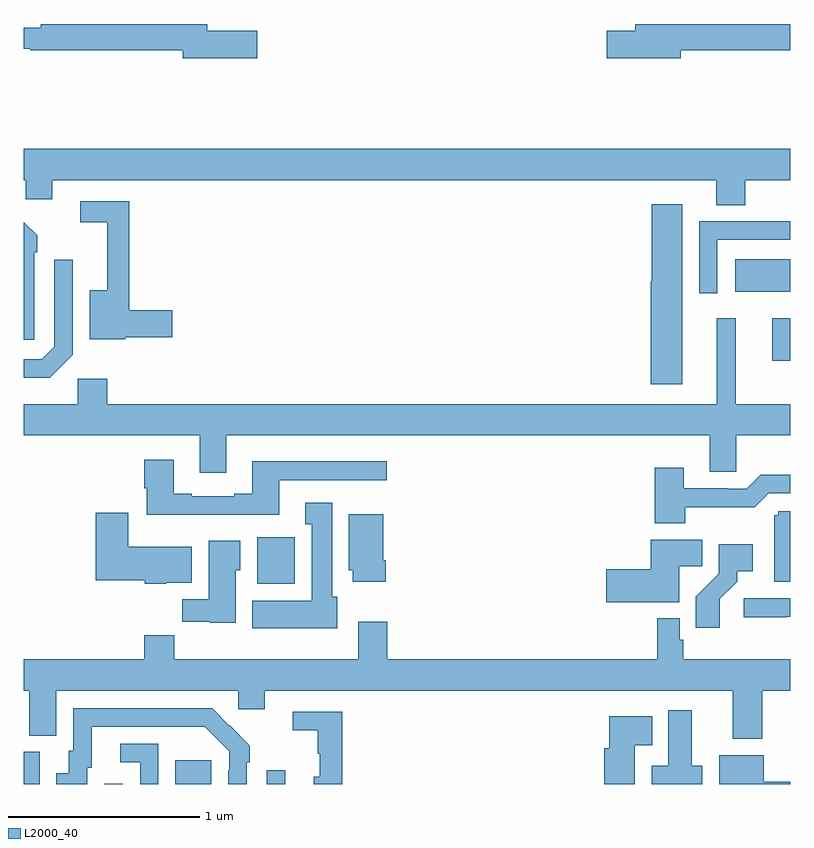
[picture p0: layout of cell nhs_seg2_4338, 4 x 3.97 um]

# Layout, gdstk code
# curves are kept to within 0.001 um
import gdstk
lib = gdstk.Library(unit=1e-6, precision=1e-09)
def R(c, l, rs):  # rectangles x0, y0, x1, y1
    for r in rs: c.add(gdstk.rectangle(r[:2], r[2:], *l))
def P(c, l, *ps):  # polygons
    for p in ps: c.add(gdstk.Polygon(p, *l))
L2000_40 = (2000, 40)

nhs_seg2_4338 = lib.new_cell('nhs_seg2_4338')
R(nhs_seg2_4338, L2000_40, [(345,661.8,345.082,661.968), (345.42,661.8,345.516,661.801), (345.791,661.8,345.979,661.924), (346.269,661.8,346.365,661.873), (346.217,662.846,346.414,663.088), (348.908,664.011,349,664.231), (348.713,664.37,349,664.54)])
P(nhs_seg2_4338, L2000_40, [(348.43,665.632),(349,665.632),(349,665.768),(348.191,665.768),(348.191,665.732),(348.042,665.732),(348.042,665.59),(348.43,665.59)],
  [(346.219,665.732),(345.958,665.732),(345.958,665.768),(345.088,665.768),(345.088,665.749),(345,665.749),(345,665.64),(345.034,665.64),(345.034,665.632),(345.83,665.632),(345.83,665.59),(346.219,665.59)],
  [(348.767,664.952),(349,664.952),(349,665.116),(345,665.116),(345,664.952),(345.009,664.952),(345.009,664.854),(345.148,664.854),(345.148,664.952),(348.614,664.952),(348.614,664.822),(348.767,664.822)],
  [(345.528,664.132),(345.775,664.132),(345.775,664.274),(345.551,664.274),(345.551,664.842),(345.294,664.842),(345.294,664.734),(345.434,664.734),(345.434,664.378),(345.344,664.378),(345.344,664.121),(345.528,664.121)],
  [(348.436,664.828),(348.278,664.828),(348.278,664.425),(348.272,664.425),(348.272,663.888),(348.436,663.888)],
  [(348.621,664.641),(349,664.641),(349,664.739),(348.85,664.739),(348.85,664.737),(348.525,664.737),(348.525,664.362),(348.621,664.362)],
  [(345.054,664.577),(345.069,664.577),(345.069,664.665),(345,664.734),(345,664.119),(345.054,664.119)],
  [(345.255,664.041),(345.255,664.537),(345.159,664.537),(345.159,664.083),(345.093,664.017),(345,664.017),(345,663.92),(345.134,663.92)],
  [(348.716,664.231),(348.617,664.231),(348.617,663.784),(345.434,663.784),(345.434,663.916),(345.282,663.916),(345.282,663.784),(345,663.784),(345,663.62),(345.917,663.62),(345.917,663.426),(346.057,663.426),(346.057,663.62),(348.581,663.62),(348.581,663.43),(348.72,663.43),(348.72,663.62),(349,663.62),(349,663.784),(348.716,663.784)],
  [(346.333,663.387),(346.894,663.387),(346.894,663.484),(346.193,663.484),(346.193,663.316),(346.097,663.316),(346.097,663.303),(345.877,663.303),(345.877,663.316),(345.781,663.316),(345.781,663.493),(345.629,663.493),(345.629,663.345),(345.641,663.345),(345.641,663.206),(346.333,663.206)],
  [(348.453,663.246),(348.815,663.245),(348.888,663.318),(349,663.318),(349,663.415),(348.847,663.415),(348.774,663.342),(348.674,663.342),(348.674,663.345),(348.445,663.345),(348.445,663.451),(348.293,663.451),(348.293,663.161),(348.453,663.161)],
  [(346.636,662.778),(346.609,662.778),(346.609,663.268),(346.469,663.268),(346.469,663.155),(346.502,663.155),(346.502,662.758),(346.193,662.758),(346.193,662.612),(346.636,662.612)],
  [(349,663.225),(348.939,663.225),(348.939,663.204),(348.917,663.204),(348.917,662.856),(349,662.856)],
  [(345.744,662.852),(345.877,662.852),(345.877,663.04),(345.544,663.04),(345.544,663.217),(345.374,663.217),(345.374,662.864),(345.63,662.864),(345.63,662.846),(345.744,662.846)],
  [(346.889,662.968),(346.876,662.968),(346.876,663.208),(346.697,663.208),(346.697,662.916),(346.718,662.916),(346.718,662.856),(346.889,662.856)],
  [(348.421,662.938),(348.542,662.938),(348.542,663.076),(348.272,663.076),(348.272,662.921),(348.039,662.921),(348.039,662.75),(348.421,662.75)],
  [(346.105,662.916),(346.129,662.916),(346.129,663.07),(345.965,663.07),(345.965,662.764),(345.826,662.764),(345.826,662.646),(345.969,662.646),(345.969,662.642),(346.105,662.642)],
  [(348.634,662.767),(348.724,662.857),(348.724,662.912),(348.805,662.912),(348.805,663.052),(348.627,663.052),(348.627,662.897),(348.508,662.778),(348.508,662.616),(348.634,662.616)],
  [(348.983,662.673),(349,662.673),(349,662.769),(348.759,662.769),(348.759,662.671),(348.983,662.671)],
  [(348.854,662.288),(349,662.288),(349,662.452),(348.443,662.452),(348.443,662.553),(348.423,662.553),(348.423,662.665),(348.307,662.665),(348.307,662.452),(346.898,662.452),(346.898,662.647),(346.745,662.647),(346.745,662.452),(345.785,662.452),(345.785,662.576),(345.629,662.576),(345.629,662.452),(345,662.452),(345,662.288),(345.029,662.288),(345.029,662.053),(345.169,662.053),(345.169,662.288),(346.119,662.288),(346.119,662.19),(346.258,662.19),(346.258,662.288),(348.701,662.288),(348.701,662.036),(348.854,662.036)],
  [(345.331,661.884),(345.355,661.884),(345.355,662.1),(345.943,662.1),(346.071,661.971),(346.071,661.871),(346.068,661.871),(346.068,661.8),(346.164,661.8),(346.164,661.913),(346.179,661.913),(346.179,662.001),(345.982,662.196),(345.258,662.196),(345.258,661.974),(345.233,661.974),(345.233,661.855),(345.17,661.855),(345.17,661.8),(345.331,661.8)],
  [(348.541,661.894),(348.487,661.894),(348.487,662.185),(348.365,662.185),(348.365,661.894),(348.278,661.894),(348.278,661.8),(348.541,661.8)],
  [(346.661,662.178),(346.404,662.178),(346.404,662.08),(346.533,662.08),(346.533,661.959),(346.544,661.959),(346.544,661.837),(346.514,661.837),(346.514,661.8),(346.661,661.8)],
  [(348.19,662.003),(348.28,662.003),(348.28,662.155),(348.056,662.155),(348.056,661.987),(348.029,661.987),(348.029,661.8),(348.19,661.8)],
  [(345.702,662.01),(345.504,662.01),(345.504,661.914),(345.606,661.914),(345.606,661.8),(345.702,661.8)],
  [(349,661.812),(348.862,661.812),(348.862,661.951),(348.629,661.951),(348.629,661.8),(349,661.8)])

lib.write_gds('nhs_seg2_4338.gds')
